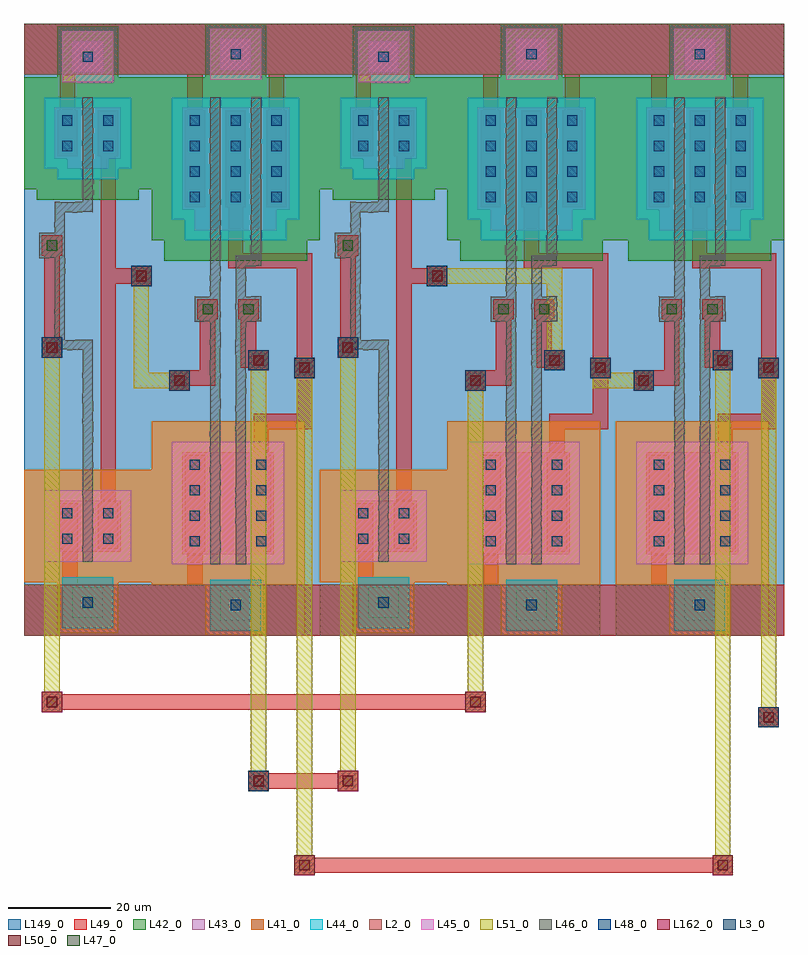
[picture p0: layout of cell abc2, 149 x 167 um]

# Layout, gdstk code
import gdstk
lib = gdstk.Library(unit=1e-6, precision=1e-09)
def R(c, l, rs):  # rectangles x0, y0, x1, y1
    for r in rs: c.add(gdstk.rectangle(r[:2], r[2:], *l))
def A(c, l, x, y, w, h, nx, ny, dx, dy):  # array of equal rectangles
    R(c, l, [(x+i*dx, y+j*dy, x+i*dx+w, y+j*dy+h) for i in range(nx) for j in range(ny)])
def P(c, l, *ps):  # polygons
    for p in ps: c.add(gdstk.Polygon(p, *l))
L2_0 = (2, 0)
L3_0 = (3, 0)
L41_0 = (41, 0)
L42_0 = (42, 0)
L43_0 = (43, 0)
L44_0 = (44, 0)
L45_0 = (45, 0)
L46_0 = (46, 0)
L47_0 = (47, 0)
L48_0 = (48, 0)
L49_0 = (49, 0)
L50_0 = (50, 0)
L51_0 = (51, 0)
L149_0 = (149, 0)
L162_0 = (162, 0)

via = lib.new_cell('via')
R(via, L49_0, [(-2,-2,2,2)])
R(via, L50_0, [(-1,-1,1,1)])
R(via, L51_0, [(-2,-2,2,2)])

nand2 = lib.new_cell('nand2')
R(nand2, L2_0, [(0,0,30,10), (0,110,33,120)])
R(nand2, L3_0, [(3.5,48,7.5,52), (28,50.5,32,54.5), (19,52,23,56)])
R(nand2, L41_0, [(10.5,0,22.5,12), (0,10,30,42)])
R(nand2, L42_0, [(10.5,108,22.5,120)])
P(nand2, L42_0, [(2.5,73.5),(2.5,77.5),(0,77.5),(0,109.5),(33,109.5),(33,77.5),(30.5,77.5),(30.5,73.5)])
R(nand2, L43_0, [(13.5,3,19.5,9), (6,16,24,36), (6,16,11.5,36), (18.5,16,24,36), (13.5,111,19.5,117)])
P(nand2, L43_0, [(8.5,79.5),(8.5,83.5),(6,83.5),(6,103.5),(27,103.5),(27,83.5),(24.5,83.5),(24.5,79.5)],
  [(8.5,79.5),(8.5,83.5),(6,83.5),(6,103.5),(11.5,103.5),(11.5,79.5)],
  [(21.5,79.5),(21.5,103.5),(27,103.5),(27,83.5),(24.5,83.5),(24.5,79.5)])
R(nand2, L44_0, [(11.5,1,21.5,11)])
P(nand2, L44_0, [(6.5,77.5),(6.5,81.5),(4,81.5),(4,105.5),(29,105.5),(29,81.5),(26.5,81.5),(26.5,77.5)])
R(nand2, L45_0, [(4,14,26,38), (11.5,109,21.5,119)])
P(nand2, L46_0, [(11.479,13.974),(11.479,14.035),(11.522,14.035),(11.522,15.035),(11.485,15.035),(11.485,16.035),(11.474,16.035),(11.474,17.035),(11.468,17.035),(11.468,18.035),(11.508,18.035),(11.508,19.035),(11.475,19.035),(11.475,20.035),(11.538,20.035),(11.538,21.035),(11.502,21.035),(11.502,22.035),(11.532,22.035),(11.532,23.035),(11.516,23.035),(11.516,24.035),(11.465,24.035),(11.465,25.035),(11.461,25.035),(11.461,26.035),(11.496,26.035),(11.496,27.035),(11.507,27.035),(11.507,28.035),(11.523,28.035),(11.523,29.035),(11.543,29.035),(11.543,30.035),(11.5,30.035),(11.5,31.035),(11.469,31.035),(11.469,32.035),(11.458,32.035),(11.458,33.035),(11.515,33.035),(11.515,34.035),(11.52,34.035),(11.52,35.035),(11.471,35.035),(11.471,36.035),(11.455,36.035),(11.455,37.035),(11.538,37.035),(11.538,38.035),(11.479,38.035),(11.479,39.035),(11.46,39.035),(11.46,40.035),(11.479,40.035),(11.479,42.035),(11.54,42.035),(11.54,43.035),(11.489,43.035),(11.489,44.035),(11.493,44.035),(11.493,45.035),(11.489,45.035),(11.489,46.035),(11.532,46.035),(11.532,47.035),(11.52,47.035),(11.52,48.035),(11.543,48.035),(11.543,49.035),(11.49,49.035),(11.49,50.035),(11.547,50.035),(11.547,51.035),(11.451,51.035),(11.451,52.035),(11.465,52.035),(11.465,53.035),(11.463,53.035),(11.463,54.035),(11.532,54.035),(11.532,55.035),(11.512,55.035),(11.512,56.035),(11.508,56.035),(11.508,57.035),(11.451,57.035),(11.451,58.035),(11.504,58.035),(11.504,59.035),(11.533,59.035),(11.533,60.035),(11.524,60.035),(11.524,61.465),(11.517,61.465),(11.517,61.455),(11.465,61.455),(11.465,61.509),(10.465,61.509),(10.465,61.531),(8.535,61.531),(8.535,61.525),(8.495,61.525),(8.495,61.535),(8.515,61.535),(8.515,62.535),(8.464,62.535),(8.464,63.535),(8.487,63.535),(8.487,64.535),(8.519,64.535),(8.519,66.465),(8.483,66.465),(8.483,66.508),(8.535,66.508),(8.535,66.458),(9.535,66.458),(9.535,66.459),(11.465,66.459),(11.465,66.541),(11.467,66.541),(11.467,66.535),(11.526,66.535),(11.526,67.535),(11.461,67.535),(11.461,68.535),(11.517,68.535),(11.517,69.535),(11.46,69.535),(11.46,70.535),(11.537,70.535),(11.537,71.535),(11.526,71.535),(11.526,72.535),(11.524,72.535),(11.524,73.535),(11.5,73.535),(11.5,74.535),(11.466,74.535),(11.466,75.535),(11.492,75.535),(11.492,76.535),(11.541,76.535),(11.541,77.535),(11.53,77.535),(11.53,78.535),(11.51,78.535),(11.51,79.535),(11.508,79.535),(11.508,80.535),(11.493,80.535),(11.493,81.535),(11.482,81.535),(11.482,82.535),(11.525,82.535),(11.525,83.535),(11.547,83.535),(11.547,84.535),(11.493,84.535),(11.493,85.535),(11.494,85.535),(11.494,86.535),(11.464,86.535),(11.464,87.535),(11.54,87.535),(11.54,88.535),(11.55,88.535),(11.55,89.535),(11.489,89.535),(11.489,90.535),(11.494,90.535),(11.494,91.535),(11.518,91.535),(11.518,92.535),(11.454,92.535),(11.454,93.535),(11.458,93.535),(11.458,94.535),(11.492,94.535),(11.492,95.535),(11.477,95.535),(11.477,96.535),(11.458,96.535),(11.458,97.535),(11.503,97.535),(11.503,98.535),(11.496,98.535),(11.496,99.535),(11.549,99.535),(11.549,100.535),(11.48,100.535),(11.48,101.535),(11.487,101.535),(11.487,102.535),(11.458,102.535),(11.458,103.535),(11.499,103.535),(11.499,105.465),(11.511,105.465),(11.511,105.532),(11.535,105.532),(11.535,105.516),(13.465,105.516),(13.465,105.466),(13.492,105.466),(13.492,105.465),(13.505,105.465),(13.505,104.465),(13.497,104.465),(13.497,103.465),(13.455,103.465),(13.455,101.465),(13.466,101.465),(13.466,100.465),(13.514,100.465),(13.514,99.465),(13.474,99.465),(13.474,98.465),(13.508,98.465),(13.508,97.465),(13.468,97.465),(13.468,96.465),(13.478,96.465),(13.478,95.465),(13.516,95.465),(13.516,94.465),(13.473,94.465),(13.473,93.465),(13.485,93.465),(13.485,92.465),(13.49,92.465),(13.49,91.465),(13.462,91.465),(13.462,90.465),(13.46,90.465),(13.46,89.465),(13.489,89.465),(13.489,88.465),(13.504,88.465),(13.504,87.465),(13.462,87.465),(13.462,86.465),(13.476,86.465),(13.476,85.465),(13.541,85.465),(13.541,84.465),(13.481,84.465),(13.481,83.465),(13.524,83.465),(13.524,82.465),(13.503,82.465),(13.503,81.465),(13.529,81.465),(13.529,80.465),(13.495,80.465),(13.495,79.465),(13.452,79.465),(13.452,78.465),(13.545,78.465),(13.545,77.465),(13.452,77.465),(13.452,76.465),(13.515,76.465),(13.515,75.465),(13.454,75.465),(13.454,74.465),(13.467,74.465),(13.467,73.465),(13.513,73.465),(13.513,72.465),(13.537,72.465),(13.537,71.465),(13.456,71.465),(13.456,70.465),(13.525,70.465),(13.525,69.465),(13.514,69.465),(13.514,68.465),(13.453,68.465),(13.453,67.465),(13.524,67.465),(13.524,66.465),(13.514,66.465),(13.514,65.465),(13.515,65.465),(13.515,64.465),(13.458,64.465),(13.458,63.465),(13.529,63.465),(13.529,62.465),(13.451,62.465),(13.451,61.465),(13.509,61.465),(13.509,60.465),(13.456,60.465),(13.456,59.465),(13.543,59.465),(13.543,58.465),(13.537,58.465),(13.537,57.465),(13.548,57.465),(13.548,56.465),(13.47,56.465),(13.47,55.465),(13.467,55.465),(13.467,54.465),(13.47,54.465),(13.47,53.465),(13.501,53.465),(13.501,52.465),(13.487,52.465),(13.487,51.465),(13.543,51.465),(13.543,50.465),(13.476,50.465),(13.476,49.465),(13.468,49.465),(13.468,48.465),(13.481,48.465),(13.481,47.465),(13.521,47.465),(13.521,46.465),(13.527,46.465),(13.527,45.465),(13.545,45.465),(13.545,44.465),(13.453,44.465),(13.453,43.465),(13.461,43.465),(13.461,42.465),(13.508,42.465),(13.508,41.465),(13.465,41.465),(13.465,40.465),(13.521,40.465),(13.521,39.465),(13.457,39.465),(13.457,38.465),(13.508,38.465),(13.508,37.465),(13.459,37.465),(13.459,36.465),(13.484,36.465),(13.484,35.465),(13.524,35.465),(13.524,34.465),(13.51,34.465),(13.51,33.465),(13.528,33.465),(13.528,32.465),(13.48,32.465),(13.48,31.465),(13.451,31.465),(13.451,30.465),(13.549,30.465),(13.549,29.465),(13.507,29.465),(13.507,28.465),(13.538,28.465),(13.538,27.465),(13.513,27.465),(13.513,26.465),(13.507,26.465),(13.507,25.465),(13.458,25.465),(13.458,24.465),(13.48,24.465),(13.48,23.465),(13.465,23.465),(13.465,22.465),(13.47,22.465),(13.47,21.465),(13.525,21.465),(13.525,20.465),(13.475,20.465),(13.475,19.465),(13.521,19.465),(13.521,18.465),(13.548,18.465),(13.548,17.465),(13.536,17.465),(13.536,16.465),(13.521,16.465),(13.521,15.465),(13.47,15.465),(13.47,14.035),(13.487,14.035),(13.487,14.034),(13.465,14.034),(13.465,14.03),(11.535,14.03),(11.535,13.974)],
  [(16.516,14.016),(16.516,14.035),(16.488,14.035),(16.488,15.035),(16.498,15.035),(16.498,16.035),(16.484,16.035),(16.484,17.035),(16.501,17.035),(16.501,18.035),(16.469,18.035),(16.469,19.035),(16.509,19.035),(16.509,20.035),(16.53,20.035),(16.53,21.035),(16.526,21.035),(16.526,22.035),(16.461,22.035),(16.461,23.035),(16.499,23.035),(16.499,24.035),(16.495,24.035),(16.495,25.035),(16.458,25.035),(16.458,26.035),(16.456,26.035),(16.456,27.035),(16.544,27.035),(16.544,28.035),(16.45,28.035),(16.45,29.035),(16.531,29.035),(16.531,30.035),(16.516,30.035),(16.516,31.035),(16.489,31.035),(16.489,32.035),(16.511,32.035),(16.511,33.035),(16.54,33.035),(16.54,34.035),(16.48,34.035),(16.48,35.035),(16.52,35.035),(16.52,36.035),(16.482,36.035),(16.482,37.035),(16.547,37.035),(16.547,38.035),(16.501,38.035),(16.501,39.035),(16.488,39.035),(16.488,40.035),(16.452,40.035),(16.452,41.035),(16.542,41.035),(16.542,42.035),(16.481,42.035),(16.481,43.035),(16.477,43.035),(16.477,44.035),(16.46,44.035),(16.46,45.035),(16.53,45.035),(16.53,46.035),(16.512,46.035),(16.512,47.035),(16.543,47.035),(16.543,48.035),(16.509,48.035),(16.509,49.035),(16.514,49.035),(16.514,50.035),(16.53,50.035),(16.53,51.035),(16.506,51.035),(16.506,52.035),(16.508,52.035),(16.508,53.035),(16.476,53.035),(16.476,54.035),(16.523,54.035),(16.523,55.035),(16.458,55.035),(16.458,56.035),(16.454,56.035),(16.454,57.035),(16.462,57.035),(16.462,58.035),(16.474,58.035),(16.474,59.035),(16.477,59.035),(16.477,60.035),(16.531,60.035),(16.531,61.035),(16.549,61.035),(16.549,62.035),(16.531,62.035),(16.531,63.035),(16.543,63.035),(16.543,64.035),(16.456,64.035),(16.456,65.035),(16.507,65.035),(16.507,66.035),(16.536,66.035),(16.536,67.035),(16.541,67.035),(16.541,68.035),(16.513,68.035),(16.513,69.035),(16.476,69.035),(16.476,70.035),(16.546,70.035),(16.546,71.035),(16.522,71.035),(16.522,72.035),(16.495,72.035),(16.495,73.035),(16.487,73.035),(16.487,74.465),(16.505,74.465),(16.505,74.475),(16.535,74.475),(16.535,74.481),(17.535,74.481),(17.535,74.469),(19.465,74.469),(19.465,74.456),(19.509,74.456),(19.509,74.535),(19.476,74.535),(19.476,75.535),(19.481,75.535),(19.481,76.535),(19.531,76.535),(19.531,77.535),(19.49,77.535),(19.49,78.535),(19.536,78.535),(19.536,79.535),(19.491,79.535),(19.491,80.535),(19.506,80.535),(19.506,81.535),(19.497,81.535),(19.497,82.535),(19.52,82.535),(19.52,83.535),(19.512,83.535),(19.512,84.535),(19.452,84.535),(19.452,85.535),(19.515,85.535),(19.515,86.535),(19.458,86.535),(19.458,87.535),(19.462,87.535),(19.462,88.535),(19.491,88.535),(19.491,89.535),(19.488,89.535),(19.488,90.535),(19.519,90.535),(19.519,91.535),(19.521,91.535),(19.521,92.535),(19.533,92.535),(19.533,93.535),(19.5,93.535),(19.5,94.535),(19.462,94.535),(19.462,95.535),(19.505,95.535),(19.505,96.535),(19.528,96.535),(19.528,97.535),(19.54,97.535),(19.54,98.535),(19.533,98.535),(19.533,99.535),(19.478,99.535),(19.478,100.535),(19.505,100.535),(19.505,101.535),(19.543,101.535),(19.543,102.535),(19.486,102.535),(19.486,103.535),(19.539,103.535),(19.539,105.465),(19.479,105.465),(19.479,105.47),(19.535,105.47),(19.535,105.48),(21.465,105.48),(21.465,105.537),(21.474,105.537),(21.474,105.465),(21.503,105.465),(21.503,104.465),(21.48,104.465),(21.48,103.465),(21.491,103.465),(21.491,102.465),(21.496,102.465),(21.496,101.465),(21.487,101.465),(21.487,99.465),(21.546,99.465),(21.546,98.465),(21.543,98.465),(21.543,97.465),(21.464,97.465),(21.464,96.465),(21.484,96.465),(21.484,95.465),(21.533,95.465),(21.533,94.465),(21.539,94.465),(21.539,93.465),(21.536,93.465),(21.536,92.465),(21.514,92.465),(21.514,91.465),(21.503,91.465),(21.503,90.465),(21.458,90.465),(21.458,89.465),(21.489,89.465),(21.489,88.465),(21.475,88.465),(21.475,87.465),(21.524,87.465),(21.524,86.465),(21.541,86.465),(21.541,85.465),(21.484,85.465),(21.484,84.465),(21.465,84.465),(21.465,83.465),(21.491,83.465),(21.491,82.465),(21.497,82.465),(21.497,81.465),(21.536,81.465),(21.536,80.465),(21.483,80.465),(21.483,79.465),(21.489,79.465),(21.489,78.465),(21.497,78.465),(21.497,77.465),(21.488,77.465),(21.488,76.465),(21.471,76.465),(21.471,75.465),(21.498,75.465),(21.498,74.465),(21.492,74.465),(21.492,72.535),(21.471,72.535),(21.471,72.496),(21.465,72.496),(21.465,72.543),(20.465,72.543),(20.465,72.458),(18.535,72.458),(18.535,72.465),(18.474,72.465),(18.474,71.465),(18.505,71.465),(18.505,70.465),(18.536,70.465),(18.536,69.465),(18.499,69.465),(18.499,68.465),(18.473,68.465),(18.473,66.535),(18.452,66.535),(18.452,66.463),(18.535,66.463),(18.535,66.494),(19.535,66.494),(19.535,66.51),(21.465,66.51),(21.465,66.534),(21.514,66.534),(21.514,66.465),(21.49,66.465),(21.49,65.465),(21.53,65.465),(21.53,64.465),(21.49,64.465),(21.49,63.465),(21.536,63.465),(21.536,61.535),(21.547,61.535),(21.547,61.522),(21.465,61.522),(21.465,61.516),(20.465,61.516),(20.465,61.498),(18.535,61.498),(18.535,61.542),(18.491,61.542),(18.491,61.465),(18.545,61.465),(18.545,60.465),(18.506,60.465),(18.506,59.465),(18.517,59.465),(18.517,58.465),(18.466,58.465),(18.466,57.465),(18.467,57.465),(18.467,56.465),(18.48,56.465),(18.48,55.465),(18.519,55.465),(18.519,54.465),(18.486,54.465),(18.486,53.465),(18.464,53.465),(18.464,52.465),(18.493,52.465),(18.493,51.465),(18.536,51.465),(18.536,50.465),(18.482,50.465),(18.482,49.465),(18.492,49.465),(18.492,48.465),(18.53,48.465),(18.53,47.465),(18.521,47.465),(18.521,46.465),(18.491,46.465),(18.491,45.465),(18.478,45.465),(18.478,44.465),(18.505,44.465),(18.505,43.465),(18.499,43.465),(18.499,42.465),(18.466,42.465),(18.466,41.465),(18.513,41.465),(18.513,40.465),(18.523,40.465),(18.523,39.465),(18.522,39.465),(18.522,38.465),(18.474,38.465),(18.474,37.465),(18.485,37.465),(18.485,36.465),(18.46,36.465),(18.46,35.465),(18.495,35.465),(18.495,34.465),(18.478,34.465),(18.478,33.465),(18.454,33.465),(18.454,32.465),(18.509,32.465),(18.509,31.465),(18.477,31.465),(18.477,30.465),(18.529,30.465),(18.529,29.465),(18.453,29.465),(18.453,28.465),(18.515,28.465),(18.515,27.465),(18.517,27.465),(18.517,26.465),(18.544,26.465),(18.544,25.465),(18.485,25.465),(18.485,24.465),(18.457,24.465),(18.457,23.465),(18.536,23.465),(18.536,22.465),(18.453,22.465),(18.453,21.465),(18.537,21.465),(18.537,20.465),(18.493,20.465),(18.493,19.465),(18.472,19.465),(18.472,18.465),(18.52,18.465),(18.52,17.465),(18.542,17.465),(18.542,16.465),(18.473,16.465),(18.473,15.465),(18.547,15.465),(18.547,14.035),(18.475,14.035),(18.475,14.048),(18.465,14.048),(18.465,14.046),(16.535,14.046),(16.535,14.016)])
R(nand2, L47_0, [(10,63,12,65), (18,63,20,65)])
A(nand2, L48_0, 7.5, 17.5, 2, 2, 1, 4, 0, 5)
A(nand2, L48_0, 20.5, 17.5, 2, 2, 1, 4, 0, 5)
A(nand2, L48_0, 7.5, 85, 2, 2, 3, 4, 8, 5)
R(nand2, L48_0, [(15.5,5,17.5,7), (15.5,113,17.5,115)])
A(nand2, L49_0, 6.5, 84, 4, 19, 3, 1, 8, 0)
R(nand2, L49_0, [(0,0,30,10), (14.5,4,18.5,8), (6.5,16.5,10.5,35.5), (19.5,16.5,23.5,35.5), (9,62,13,66), (17,62,21,66), (23,99,26,116.5), (7,100,10,116.5), (0,110,33,120), (14.5,112,18.5,116)])
R(nand2, L149_0, [(0,0,30,10), (0,0,33,120), (14.5,4,18.5,8), (9,62,13,66), (17,62,21,66), (23,99,26,116.5), (7,100,10,116.5), (0,110,33,120), (14.5,112,18.5,116)])
R(nand2, L162_0, [(3.5,48,7.5,52), (28,50.5,32,54.5), (19,52,23,56)])
nand2.add(gdstk.FlexPath([(8.5,18),(8.5,5)], 3, ends="extended", simple_path=True, layer=49, datatype=0))  # L49_0
nand2.add(gdstk.FlexPath([(21.5,39.5),(21.5,32.5)], 3, ends="extended", simple_path=True, layer=49, datatype=0))  # L49_0
nand2.add(gdstk.FlexPath([(11,64),(11,50.5),(5.5,50.5)], 3, ends="extended", simple_path=True, layer=49, datatype=0))  # L49_0
nand2.add(gdstk.FlexPath([(19,64),(19,54)], 3, ends="extended", simple_path=True, layer=49, datatype=0))  # L49_0
nand2.add(gdstk.FlexPath([(16.5,85.5),(16.5,73.5),(30,73.5),(30,42),(21.5,42),(21.5,37.5)], 3, ends="extended", simple_path=True, layer=49, datatype=0))  # L49_0
nand2.add(gdstk.FlexPath([(8.5,18),(8.5,5)], 3, ends="extended", simple_path=True, layer=149, datatype=0))  # L149_0
nand2.add(gdstk.FlexPath([(21.5,39.5),(21.5,32.5)], 3, ends="extended", simple_path=True, layer=149, datatype=0))  # L149_0
nand2.add(gdstk.FlexPath([(11,64),(11,50.5),(5.5,50.5)], 3, ends="extended", simple_path=True, layer=149, datatype=0))  # L149_0
nand2.add(gdstk.FlexPath([(19,64),(19,54)], 3, ends="extended", simple_path=True, layer=149, datatype=0))  # L149_0
nand2.add(gdstk.FlexPath([(16.5,85.5),(16.5,73.5),(30,73.5),(30,42),(21.5,42),(21.5,37.5)], 3, ends="extended", simple_path=True, layer=149, datatype=0))  # L149_0
nand2.add(gdstk.Reference(via, (5.5,50)))
nand2.add(gdstk.Reference(via, (30,52.5)))
nand2.add(gdstk.Reference(via, (21,54)))

inv1 = lib.new_cell('inv1')
R(inv1, L2_0, [(0,0,25,10), (0,110,25,120)])
R(inv1, L3_0, [(3.5,54.5,7.5,58.5), (21,68.5,25,72.5)])
R(inv1, L41_0, [(6.5,0.5,18.5,12.5), (0,10.5,25,32.5)])
R(inv1, L42_0, [(6.5,107.5,18.5,119.5)])
P(inv1, L42_0, [(2.5,85.5),(2.5,87.5),(0,87.5),(0,109.5),(25,109.5),(25,87.5),(22.5,87.5),(22.5,85.5)])
R(inv1, L43_0, [(9.5,3.5,15.5,9.5), (6,16.5,19,26.5), (6,16.5,11.5,26.5), (13.5,16.5,19,26.5), (9.5,110.5,15.5,116.5)])
P(inv1, L43_0, [(8.5,91.5),(8.5,93.5),(6,93.5),(6,103.5),(19,103.5),(19,93.5),(16.5,93.5),(16.5,91.5)],
  [(8.5,91.5),(8.5,93.5),(6,93.5),(6,103.5),(11.5,103.5),(11.5,91.5)],
  [(13.5,91.5),(13.5,103.5),(19,103.5),(19,93.5),(16.5,93.5),(16.5,91.5)])
R(inv1, L44_0, [(7.5,1.5,17.5,11.5)])
P(inv1, L44_0, [(6.5,89.5),(6.5,91.5),(4,91.5),(4,105.5),(21,105.5),(21,91.5),(18.5,91.5),(18.5,89.5)])
R(inv1, L45_0, [(4,14.5,21,28.5), (7.5,108.5,17.5,118.5)])
R(inv1, L46_0, [(13.464,14.491,13.465,14.53)])
P(inv1, L46_0, [(11.487,14.506),(11.487,14.535),(11.488,14.535),(11.488,15.535),(11.518,15.535),(11.518,16.535),(11.457,16.535),(11.457,17.535),(11.54,17.535),(11.54,18.535),(11.489,18.535),(11.489,19.535),(11.483,19.535),(11.483,20.535),(11.493,20.535),(11.493,21.535),(11.528,21.535),(11.528,22.535),(11.504,22.535),(11.504,23.535),(11.527,23.535),(11.527,24.535),(11.495,24.535),(11.495,25.535),(11.52,25.535),(11.52,26.535),(11.517,26.535),(11.517,27.535),(11.45,27.535),(11.45,28.535),(11.51,28.535),(11.51,29.535),(11.507,29.535),(11.507,30.535),(11.499,30.535),(11.499,31.535),(11.516,31.535),(11.516,32.535),(11.546,32.535),(11.546,33.535),(11.532,33.535),(11.532,34.535),(11.514,34.535),(11.514,35.535),(11.474,35.535),(11.474,36.535),(11.476,36.535),(11.476,37.535),(11.509,37.535),(11.509,38.535),(11.498,38.535),(11.498,39.535),(11.478,39.535),(11.478,40.535),(11.544,40.535),(11.544,41.535),(11.456,41.535),(11.456,42.535),(11.53,42.535),(11.53,43.535),(11.489,43.535),(11.489,44.535),(11.473,44.535),(11.473,45.535),(11.459,45.535),(11.459,46.535),(11.467,46.535),(11.467,47.535),(11.494,47.535),(11.494,48.535),(11.487,48.535),(11.487,49.535),(11.495,49.535),(11.495,50.535),(11.454,50.535),(11.454,51.535),(11.524,51.535),(11.524,52.535),(11.549,52.535),(11.549,53.535),(11.529,53.535),(11.529,54.535),(11.534,54.535),(11.534,55.965),(11.516,55.965),(11.516,56.008),(11.465,56.008),(11.465,56.037),(10.465,56.037),(10.465,55.959),(9.465,55.959),(9.465,55.965),(8.465,55.965),(8.465,56.033),(7.465,56.033),(7.465,56.023),(6.035,56.023),(6.035,55.97),(5.995,55.97),(5.995,56.035),(6.047,56.035),(6.047,57.035),(6.004,57.035),(6.004,58.035),(5.968,58.035),(5.968,59.035),(6.012,59.035),(6.012,60.035),(5.967,60.035),(5.967,61.035),(5.999,61.035),(5.999,62.035),(6.02,62.035),(6.02,63.035),(5.951,63.035),(5.951,64.035),(6.006,64.035),(6.006,65.035),(6.004,65.035),(6.004,66.035),(6.017,66.035),(6.017,67.035),(6.006,67.035),(6.006,68.035),(6.03,68.035),(6.03,69.035),(6.021,69.035),(6.021,70.035),(5.995,70.035),(5.995,71.035),(5.988,71.035),(5.988,72.035),(6.047,72.035),(6.047,73.965),(5.978,73.965),(5.978,73.987),(5.965,73.987),(5.965,74.042),(4.965,74.042),(4.965,73.992),(3.035,73.992),(3.035,74.025),(3.015,74.025),(3.015,74.035),(2.962,74.035),(2.962,75.035),(2.982,75.035),(2.982,76.035),(3.036,76.035),(3.036,77.035),(2.966,77.035),(2.966,78.965),(2.962,78.965),(2.962,79.018),(3.035,79.018),(3.035,79.005),(4.035,79.005),(4.035,79.002),(5.965,79.002),(5.965,78.977),(6.047,78.977),(6.047,79.035),(6.036,79.035),(6.036,80.035),(5.978,80.035),(5.978,81.035),(6.042,81.035),(6.042,82.035),(6.044,82.035),(6.044,83.035),(5.982,83.035),(5.982,84.965),(6.009,84.965),(6.009,85.041),(6.035,85.041),(6.035,85.037),(7.035,85.037),(7.035,84.991),(8.035,84.991),(8.035,84.981),(9.035,84.981),(9.035,84.979),(10.035,84.979),(10.035,85.048),(11.465,85.048),(11.465,85.011),(11.521,85.011),(11.521,85.035),(11.473,85.035),(11.473,86.035),(11.543,86.035),(11.543,87.035),(11.516,87.035),(11.516,88.035),(11.525,88.035),(11.525,89.035),(11.536,89.035),(11.536,90.035),(11.495,90.035),(11.495,91.035),(11.546,91.035),(11.546,92.035),(11.466,92.035),(11.466,93.035),(11.53,93.035),(11.53,94.035),(11.49,94.035),(11.49,95.035),(11.53,95.035),(11.53,96.035),(11.461,96.035),(11.461,97.035),(11.501,97.035),(11.501,98.035),(11.543,98.035),(11.543,99.035),(11.495,99.035),(11.495,100.035),(11.489,100.035),(11.489,101.035),(11.525,101.035),(11.525,102.035),(11.453,102.035),(11.453,103.035),(11.507,103.035),(11.507,104.035),(11.452,104.035),(11.452,105.465),(11.539,105.465),(11.539,105.503),(11.535,105.503),(11.535,105.53),(13.465,105.53),(13.465,105.515),(13.482,105.515),(13.482,105.465),(13.473,105.465),(13.473,104.465),(13.494,104.465),(13.494,103.465),(13.532,103.465),(13.532,102.465),(13.473,102.465),(13.473,101.465),(13.491,101.465),(13.491,99.465),(13.532,99.465),(13.532,98.465),(13.48,98.465),(13.48,97.465),(13.465,97.465),(13.465,96.465),(13.49,96.465),(13.49,95.465),(13.488,95.465),(13.488,94.465),(13.546,94.465),(13.546,93.465),(13.504,93.465),(13.504,92.465),(13.458,92.465),(13.458,91.465),(13.491,91.465),(13.491,90.465),(13.499,90.465),(13.499,89.465),(13.528,89.465),(13.528,88.465),(13.523,88.465),(13.523,87.465),(13.534,87.465),(13.534,86.465),(13.527,86.465),(13.527,85.465),(13.509,85.465),(13.509,84.465),(13.466,84.465),(13.466,83.035),(13.469,83.035),(13.469,82.952),(13.465,82.952),(13.465,83.009),(12.465,83.009),(12.465,83.031),(11.465,83.031),(11.465,83.011),(10.465,83.011),(10.465,82.95),(9.465,82.95),(9.465,83.003),(8.035,83.003),(8.035,83.042),(8.019,83.042),(8.019,82.965),(7.955,82.965),(7.955,81.965),(7.997,81.965),(7.997,80.965),(7.998,80.965),(7.998,79.965),(7.957,79.965),(7.957,78.965),(8.033,78.965),(8.033,77.965),(7.996,77.965),(7.996,76.965),(8,76.965),(8,75.965),(7.976,75.965),(7.976,74.965),(7.985,74.965),(7.985,73.965),(8.049,73.965),(8.049,72.965),(7.982,72.965),(7.982,71.965),(8.045,71.965),(8.045,70.965),(7.979,70.965),(7.979,69.965),(8.013,69.965),(8.013,68.965),(7.957,68.965),(7.957,67.965),(7.951,67.965),(7.951,66.965),(7.974,66.965),(7.974,65.965),(7.961,65.965),(7.961,64.965),(8.025,64.965),(8.025,63.965),(7.963,63.965),(7.963,62.965),(8.032,62.965),(8.032,61.965),(7.996,61.965),(7.996,60.965),(8,60.965),(8,59.965),(7.992,59.965),(7.992,58.035),(7.98,58.035),(7.98,57.964),(8.035,57.964),(8.035,57.959),(9.035,57.959),(9.035,57.958),(10.035,57.958),(10.035,58.013),(11.035,58.013),(11.035,57.976),(12.035,57.976),(12.035,58.008),(13.465,58.008),(13.465,58.015),(13.469,58.015),(13.469,57.965),(13.498,57.965),(13.498,56.965),(13.452,56.965),(13.452,55.965),(13.501,55.965),(13.501,54.965),(13.512,54.965),(13.512,53.965),(13.487,53.965),(13.487,52.965),(13.513,52.965),(13.513,51.965),(13.465,51.965),(13.465,50.965),(13.475,50.965),(13.475,49.965),(13.463,49.965),(13.463,48.965),(13.482,48.965),(13.482,47.965),(13.479,47.965),(13.479,46.965),(13.453,46.965),(13.453,45.965),(13.544,45.965),(13.544,43.965),(13.468,43.965),(13.468,42.965),(13.522,42.965),(13.522,41.965),(13.545,41.965),(13.545,40.965),(13.535,40.965),(13.535,39.965),(13.507,39.965),(13.507,38.965),(13.545,38.965),(13.545,37.965),(13.519,37.965),(13.519,36.965),(13.469,36.965),(13.469,35.965),(13.511,35.965),(13.511,34.965),(13.527,34.965),(13.527,33.965),(13.536,33.965),(13.536,32.965),(13.482,32.965),(13.482,31.965),(13.467,31.965),(13.467,30.965),(13.503,30.965),(13.503,29.965),(13.469,29.965),(13.469,28.965),(13.527,28.965),(13.527,27.965),(13.463,27.965),(13.463,26.965),(13.47,26.965),(13.47,25.965),(13.507,25.965),(13.507,24.965),(13.538,24.965),(13.538,23.965),(13.452,23.965),(13.452,22.965),(13.476,22.965),(13.476,21.965),(13.464,21.965),(13.464,20.965),(13.535,20.965),(13.535,19.965),(13.482,19.965),(13.482,18.965),(13.471,18.965),(13.471,17.965),(13.487,17.965),(13.487,16.965),(13.454,16.965),(13.454,15.965),(13.478,15.965),(13.478,14.535),(13.464,14.535),(13.464,14.53),(11.535,14.53),(11.535,14.506)])
R(inv1, L47_0, [(4.5,75.5,6.5,77.5)])
R(inv1, L48_0, [(11.5,5.5,13.5,7.5), (7.5,18,9.5,20), (15.5,18,17.5,20), (7.5,23,9.5,25), (15.5,23,17.5,25), (7.5,95,9.5,97), (15.5,95,17.5,97), (7.5,100,9.5,102), (15.5,100,17.5,102), (11.5,112.5,13.5,114.5)])
R(inv1, L49_0, [(0,0,25,10), (10.5,4.5,14.5,8.5), (7.5,5.5,10.5,20), (6.5,17,10.5,26), (14.5,17,18.5,26), (3.5,74.5,7.5,78.5), (6.5,94,10.5,103), (14.5,94,18.5,103), (7,99.5,10,114), (0,110,25,120), (10.5,111.5,14.5,115.5)])
R(inv1, L149_0, [(0,0,25,10), (0,0,25,120), (10.5,4.5,14.5,8.5), (7.5,5.5,10.5,20), (3.5,74.5,7.5,78.5), (7,99.5,10,114), (0,110,25,120), (10.5,111.5,14.5,115.5)])
R(inv1, L162_0, [(3.5,54.5,7.5,58.5), (21,68.5,25,72.5)])
inv1.add(gdstk.FlexPath([(16.5,70.5),(23,70.5)], 3, ends="extended", simple_path=True, layer=49, datatype=0))  # L49_0
inv1.add(gdstk.FlexPath([(16.5,43),(16.5,23.5)], 3, ends="extended", simple_path=True, layer=49, datatype=0))  # L49_0
inv1.add(gdstk.FlexPath([(16.5,100.5),(16.5,43)], 3, ends="extended", simple_path=True, layer=49, datatype=0))  # L49_0
inv1.add(gdstk.FlexPath([(5.5,56.5),(5.5,76.5)], 3, ends="extended", simple_path=True, layer=49, datatype=0))  # L49_0
inv1.add(gdstk.FlexPath([(16.5,70.5),(23,70.5)], 3, ends="extended", simple_path=True, layer=149, datatype=0))  # L149_0
inv1.add(gdstk.FlexPath([(16.5,43),(16.5,23.5)], 3, ends="extended", simple_path=True, layer=149, datatype=0))  # L149_0
inv1.add(gdstk.FlexPath([(16.5,100.5),(16.5,43)], 3, ends="extended", simple_path=True, layer=149, datatype=0))  # L149_0
inv1.add(gdstk.FlexPath([(5.5,56.5),(5.5,76.5)], 3, ends="extended", simple_path=True, layer=149, datatype=0))  # L149_0
inv1.add(gdstk.Reference(via, (23,70.5)))
inv1.add(gdstk.Reference(via, (5.5,56.5)))

abc2 = lib.new_cell('abc2')
R(abc2, L3_0, [(44,-30.5,48,-26.5), (144,-18,148,-14)])
R(abc2, L49_0, [(4,-14.5,7,-11.5), (0,0,149,10), (0,110,149,120)])
R(abc2, L162_0, [(53,-47,57,-43), (135,-47,139,-43), (44,-30.5,48,-26.5), (61.5,-30.5,65.5,-26.5), (144,-18,148,-14), (3.5,-15,7.5,-11), (86.5,-15,90.5,-11)])
abc2.add(gdstk.FlexPath([(55,-45),(137,-45)], 3, ends="extended", simple_path=True, layer=49, datatype=0))  # L49_0
abc2.add(gdstk.FlexPath([(5,-13),(88.5,-13)], 3, ends="extended", simple_path=True, layer=49, datatype=0))  # L49_0
abc2.add(gdstk.FlexPath([(46,-28.5),(63.5,-28.5)], 3, ends="extended", simple_path=True, layer=49, datatype=0))  # L49_0
abc2.add(gdstk.FlexPath([(46,54),(46,-28.5)], 3, ends="extended", simple_path=True, layer=51, datatype=0))  # L51_0
abc2.add(gdstk.FlexPath([(146,-16),(146,52.5)], 3, ends="extended", simple_path=True, layer=51, datatype=0))  # L51_0
abc2.add(gdstk.FlexPath([(137,54),(137,-45)], 3, ends="extended", simple_path=True, layer=51, datatype=0))  # L51_0
abc2.add(gdstk.FlexPath([(55,52.5),(55,-45)], 3, ends="extended", simple_path=True, layer=51, datatype=0))  # L51_0
abc2.add(gdstk.FlexPath([(104,56),(104,70.5)], 3, ends="extended", simple_path=True, layer=51, datatype=0))  # L51_0
abc2.add(gdstk.FlexPath([(104,70.5),(83,70.5)], 3, ends="extended", simple_path=True, layer=51, datatype=0))  # L51_0
abc2.add(gdstk.FlexPath([(119.5,50),(113,50)], 3, ends="extended", simple_path=True, layer=51, datatype=0))  # L51_0
abc2.add(gdstk.FlexPath([(113,50),(113,50.5)], 3, ends="extended", simple_path=True, layer=51, datatype=0))  # L51_0
abc2.add(gdstk.FlexPath([(5.5,56.5),(5.5,-13)], 3, ends="extended", simple_path=True, layer=51, datatype=0))  # L51_0
abc2.add(gdstk.FlexPath([(88.5,50),(88.5,-12.5)], 3, ends="extended", simple_path=True, layer=51, datatype=0))  # L51_0
abc2.add(gdstk.FlexPath([(23,50),(23,68.5)], 3, ends="extended", simple_path=True, layer=51, datatype=0))  # L51_0
abc2.add(gdstk.FlexPath([(28.5,50),(23,50)], 3, ends="extended", simple_path=True, layer=51, datatype=0))  # L51_0
abc2.add(gdstk.FlexPath([(63.5,56.5),(63.5,-28.5)], 3, ends="extended", simple_path=True, layer=51, datatype=0))  # L51_0
abc2.add(gdstk.Reference(via, (55,-45)))
abc2.add(gdstk.Reference(via, (146,-16)))
abc2.add(gdstk.Reference(via, (88.5,-13)))
abc2.add(gdstk.Reference(via, (46,-28.5)))
abc2.add(gdstk.Reference(via, (137,-45)))
abc2.add(gdstk.Reference(via, (5.5,-13)))
abc2.add(gdstk.Reference(via, (63.5,-28.5)))
abc2.add(gdstk.Reference(nand2, (25,0)))
abc2.add(gdstk.Reference(nand2, (83,0)))
abc2.add(gdstk.Reference(nand2, (116,0)))
abc2.add(gdstk.Reference(inv1, (0,0)))
abc2.add(gdstk.Reference(inv1, (58,0)))

lib.write_gds('abc2.gds')
